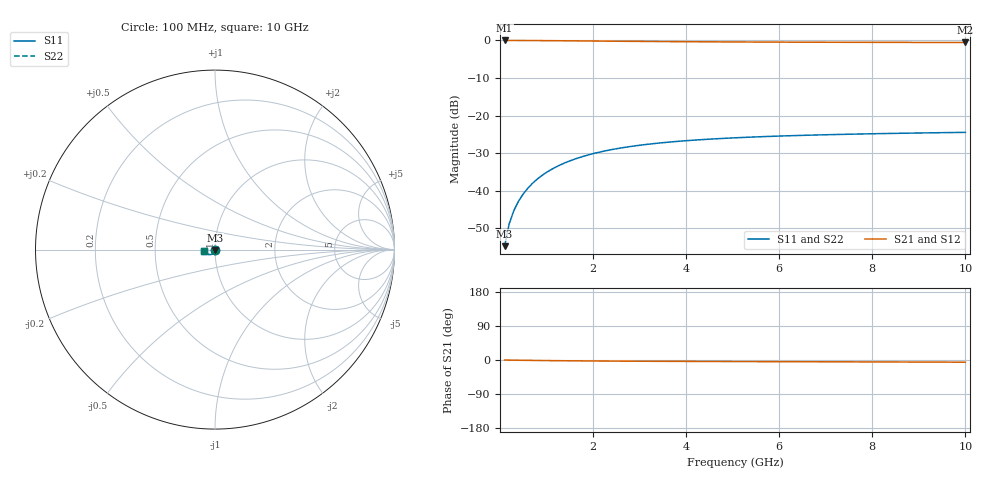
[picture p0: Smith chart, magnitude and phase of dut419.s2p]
! Touchstone file exported from HFSS 2024.1.0
!  File:  C:/UserFiles/LocalFiles/RDL_TSV_Batchsim/temp_TSV1_419_1779693291.aedt
!  Generated:  03:20:37 PM May 25, 2026
!  Design:  TSV1
!  Project:  temp_TSV1_419_1779693291
!  Setup:  Setup1
!  Solution:  Sweep
! Variables:
!  dtsv = 13.45um
!  hbump = 3um
!  htsv = 89.05um
!  lrdl = 252.1521522um
!  p = 40
!  p1 = 56.28um
!  t = 500um
!  trdl = 3um
!  wrdl = 24.89489489um
# GHz S MA R 50.000000
! Terminal data exported
! Port[1] = TSV22_T1
! Port[2] = TSV22_T2
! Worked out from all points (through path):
!   100 points, 100 MHz to 10 GHz, reference 50 ohm
!   highest |S21| = 0.00 dB at 100 MHz (marker M1); lowest = -0.5 dB at 10 GHz (marker M2)
!   lowest |S11| = -54.8 dB at 100 MHz (marker M3), VSWR 1.00, Z = 50 - j0.182 ohm
!   |S11| at or under -10 dB: start of sweep to end of sweep
!   |S22| runs from -54.8 to -24.5 dB; largest |S21 - S12| = 2.3e-15
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0.1  0.00182 -89.0  0.9998 -0.2  0.9998 -0.2  0.00182 -89.0
! Gamma 0 0 0 0
! Port Impedance 50 0 50 0
0.2  0.003637 -92.2  0.9996 -0.3  0.9996 -0.3  0.003637 -92.2
0.3  0.005451 -94.5  0.9993 -0.5  0.9993 -0.5  0.005451 -94.5
0.4  0.007253 -96.7  0.9989 -0.6  0.9989 -0.6  0.007253 -96.7
0.5  0.009036 -98.7  0.9983 -0.8  0.9983 -0.8  0.009036 -98.7
0.6  0.01079 -100.7  0.9977 -0.9  0.9977 -0.9  0.01079 -100.7
0.7  0.01252 -102.6  0.997 -1.1  0.997 -1.1  0.01252 -102.6
0.8  0.01422 -104.5  0.9962 -1.2  0.9962 -1.2  0.01422 -104.5
0.9  0.01587 -106.3  0.9953 -1.4  0.9953 -1.4  0.01587 -106.3
1.1  0.01906 -109.9  0.9933 -1.6  0.9933 -1.6  0.01906 -109.9
1.4  0.02349 -115.0  0.9899 -2.0  0.9899 -2.0  0.02349 -115.0
1.6  0.0262 -118.2  0.9876 -2.2  0.9876 -2.2  0.0262 -118.2
1.8  0.02872 -121.2  0.9851 -2.4  0.9851 -2.4  0.02872 -121.2
2.1  0.03214 -125.4  0.9814 -2.6  0.9814 -2.6  0.03214 -125.4
2.5  0.03609 -130.6  0.9767 -2.9  0.9767 -2.9  0.03609 -130.6
2.9  0.03943 -135.1  0.9723 -3.2  0.9723 -3.2  0.03943 -135.1
3.4  0.04289 -140.2  0.9673 -3.4  0.9673 -3.4  0.04289 -140.2
4.2  0.04716 -147.0  0.9607 -3.8  0.9607 -3.8  0.04716 -147.0
5.1  0.05067 -153.2  0.9549 -4.1  0.9549 -4.1  0.05067 -153.2
6.7  0.05487 -162.0  0.9477 -4.6  0.9477 -4.6  0.05487 -162.0
8.4  0.05775 -169.2  0.9427 -5.2  0.9427 -5.2  0.05775 -169.2
10  0.05968 -174.8  0.9396 -5.7  0.9396 -5.7  0.05968 -174.8
